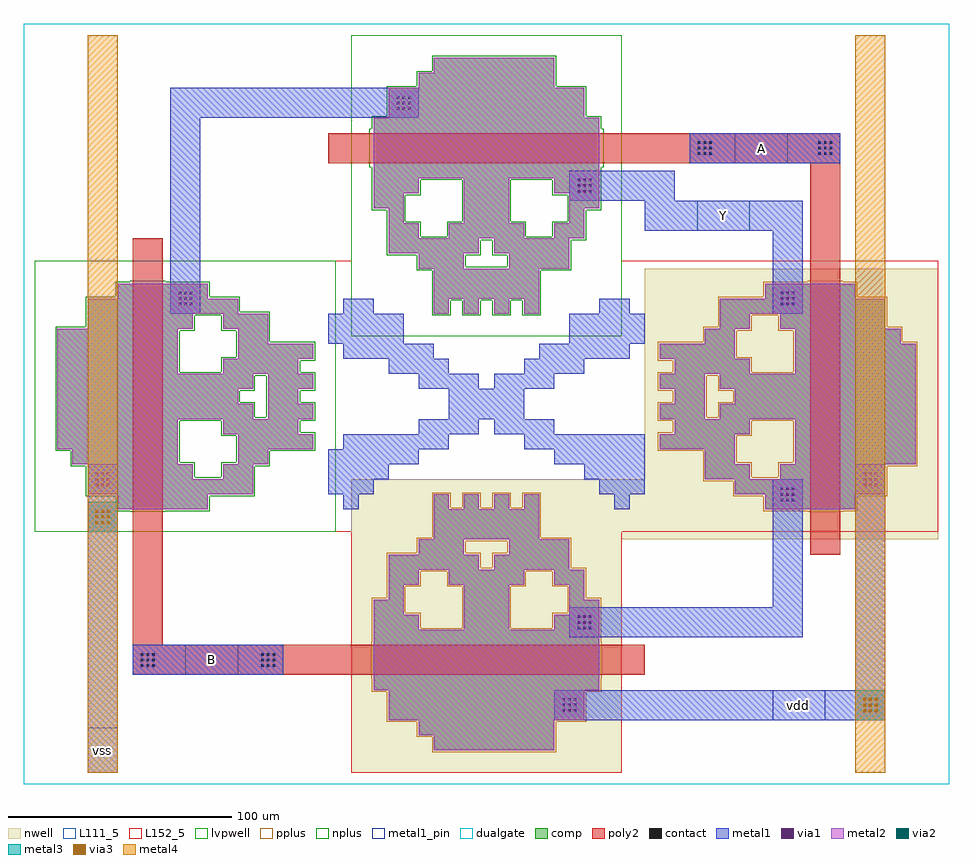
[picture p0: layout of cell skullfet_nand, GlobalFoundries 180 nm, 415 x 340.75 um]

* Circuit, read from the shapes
.subckt skullfet_nand A B Y vdd vss
XM1 n1 B vss VSUBS nfet_06v0 w=101.25u l=13.5u
XM2 n1 A Y VSUBS nfet_06v0 w=101.25u l=13.5u
XM3 Y B vdd n2 pfet_06v0 w=101.25u l=13.5u
XM4 vdd A Y n2 pfet_06v0 w=101.25u l=13.5u
.ends

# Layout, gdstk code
import gdstk
lib = gdstk.Library(unit=1e-6, precision=5e-09)
def R(c, l, rs):  # rectangles x0, y0, x1, y1
    for r in rs: c.add(gdstk.rectangle(r[:2], r[2:], *l))
def A(c, l, x, y, w, h, nx, ny, dx, dy):  # array of equal rectangles
    R(c, l, [(x+i*dx, y+j*dy, x+i*dx+w, y+j*dy+h) for i in range(nx) for j in range(ny)])
nwell = (21, 0)
comp = (22, 0)
poly2 = (30, 0)
pplus = (31, 0)
nplus = (32, 0)
contact = (33, 0)
metal1 = (34, 0)
metal1_pin = (34, 10)
via1 = (35, 0)
metal2 = (36, 0)
via2 = (38, 0)
via3 = (40, 0)
metal3 = (42, 0)
metal4 = (46, 0)
dualgate = (55, 0)
L111_5 = (111, 5)
L152_5 = (152, 5)
lvpwell = (204, 0)

skullfet_nand = lib.new_cell('skullfet_nand')
R(skullfet_nand, nwell, [(141.75,27,263.25,131.625), (141.75,131.625,405,158.625), (273.375,158.625,405,253.125)])
A(skullfet_nand, comp, 178.875, 145.125, 6.75, 6.75, 4, 2, 13.5, 87.75)
R(skullfet_nand, comp, [(178.875,37.125,232.875,43.875), (172.125,43.875,232.875,50.625), (158.625,50.625,246.375,64.125), (151.875,64.125,253.125,91.125), (151.875,91.125,172.125,97.875), (192.375,91.125,212.625,111.375), (232.875,91.125,253.125,97.875), (151.875,97.875,165.375,104.625), (239.625,97.875,253.125,104.625), (158.625,104.625,165.375,111.375), (239.625,104.625,246.375,111.375), (158.625,111.375,172.125,118.125), (185.625,111.375,219.375,118.125), (232.875,111.375,246.375,118.125), (158.625,118.125,199.125,124.875), (205.875,118.125,239.625,124.875), (172.125,124.875,192.375,131.625), (212.625,124.875,239.625,131.625), (178.875,131.625,226.125,145.125), (37.125,145.125,77.625,151.875), (327.375,145.125,367.875,151.875), (23.625,151.875,97.875,158.625), (313.875,151.875,381.375,158.625), (23.625,158.625,70.875,165.375), (84.375,158.625,97.875,165.375), (300.375,158.625,320.625,165.375), (334.125,158.625,381.375,165.375), (16.875,165.375,64.125,172.125), (91.125,165.375,104.625,172.125), (300.375,165.375,313.875,172.125), (340.875,165.375,394.875,185.625), (10.125,172.125,64.125,185.625), (91.125,172.125,124.875,178.875), (280.125,172.125,313.875,178.875), (84.375,178.875,118.125,185.625), (286.875,178.875,320.625,185.625), (10.125,185.625,97.875,192.375), (104.625,185.625,124.875,192.375), (280.125,185.625,300.375,192.375), (307.125,185.625,394.875,192.375), (10.125,192.375,91.125,199.125), (104.625,192.375,118.125,199.125), (286.875,192.375,300.375,199.125), (313.875,192.375,394.875,199.125), (10.125,199.125,97.875,205.875), (104.625,199.125,124.875,205.875), (280.125,199.125,300.375,205.875), (307.125,199.125,394.875,205.875), (10.125,205.875,64.125,226.125), (84.375,205.875,118.125,212.625), (286.875,205.875,320.625,212.625), (340.875,205.875,394.875,219.375), (91.125,212.625,124.875,219.375), (280.125,212.625,313.875,219.375), (91.125,219.375,104.625,226.125), (300.375,219.375,313.875,226.125), (340.875,219.375,388.125,226.125), (23.625,226.125,70.875,232.875), (84.375,226.125,104.625,232.875), (307.125,226.125,320.625,232.875), (334.125,226.125,381.375,232.875), (23.625,232.875,91.125,239.625), (307.125,232.875,381.375,239.625), (37.125,239.625,77.625,246.375), (178.875,239.625,226.125,253.125), (327.375,239.625,367.875,246.375), (172.125,253.125,192.375,259.875), (212.625,253.125,239.625,259.875), (158.625,259.875,199.125,266.625), (205.875,259.875,239.625,266.625), (158.625,266.625,172.125,273.375), (185.625,266.625,219.375,273.375), (232.875,266.625,246.375,273.375), (158.625,273.375,165.375,280.125), (192.375,273.375,212.625,293.625), (239.625,273.375,246.375,280.125), (151.875,280.125,165.375,286.875), (239.625,280.125,253.125,286.875), (151.875,286.875,172.125,293.625), (232.875,286.875,253.125,293.625), (151.875,293.625,253.125,320.625), (158.625,320.625,246.375,334.125), (172.125,334.125,232.875,340.875), (178.875,340.875,232.875,347.625)])
R(skullfet_nand, poly2, [(43.875,70.875,273.375,84.375), (43.875,84.375,57.375,266.625), (347.625,124.875,361.125,300.375), (131.625,300.375,361.125,313.875)])
A(skullfet_nand, pplus, 178.075, 145.925, 8.35, 6.75, 4, 1, 13.5, 0)
R(skullfet_nand, pplus, [(178.075,36.325,233.675,43.075), (171.325,43.075,233.675,49.825), (157.825,49.825,247.175,63.325), (151.075,63.325,253.925,69.725), (150.725,69.725,254.275,85.525), (151.075,85.525,253.925,91.925), (151.075,91.925,172.925,98.675), (191.575,91.925,213.425,110.575), (232.075,91.925,253.925,98.675), (151.075,98.675,166.175,105.425), (238.825,98.675,253.925,105.425), (157.825,105.425,166.175,110.575), (238.825,105.425,247.175,110.575), (157.825,110.575,172.925,117.325), (184.825,110.575,220.175,117.325), (232.075,110.575,247.175,117.325), (157.825,117.325,247.175,118.925), (157.825,118.925,199.925,125.675), (205.075,118.925,240.425,125.675), (171.325,125.675,193.175,130.825), (211.825,125.675,240.425,130.825), (171.325,130.825,240.425,132.425), (178.075,132.425,226.925,145.925), (346.475,143.975,362.275,144.325), (326.575,144.325,368.675,151.075), (313.075,151.075,382.175,157.825), (299.575,157.825,382.175,159.425), (299.575,159.425,321.425,166.175), (333.325,159.425,382.175,164.575), (333.325,164.575,395.675,166.175), (299.575,166.175,314.675,171.325), (340.075,166.175,395.675,184.825), (279.325,171.325,314.675,178.075), (279.325,178.075,321.425,179.675), (286.075,179.675,321.425,184.825), (279.325,184.825,395.675,186.425), (279.325,186.425,301.175,193.175), (306.325,186.425,395.675,193.175), (286.075,193.175,301.175,198.325), (313.075,193.175,395.675,198.325), (279.325,198.325,301.175,205.075), (306.325,198.325,395.675,205.075), (279.325,205.075,395.675,206.675), (286.075,206.675,321.425,211.825), (340.075,206.675,395.675,220.175), (279.325,211.825,321.425,213.425), (279.325,213.425,314.675,220.175), (299.575,220.175,314.675,225.325), (340.075,220.175,388.925,225.325), (299.575,225.325,321.425,226.925), (333.325,225.325,388.925,226.925), (306.325,226.925,321.425,232.075), (333.325,226.925,382.175,232.075), (306.325,232.075,382.175,240.425), (326.575,240.425,368.675,247.175), (346.475,247.175,362.275,247.525)])
A(skullfet_nand, nplus, 178.075, 232.075, 8.35, 8.15, 4, 1, 13.5, 0)
R(skullfet_nand, nplus, [(42.725,143.975,58.525,145.025), (36.325,144.325,78.425,152.475), (22.825,151.075,98.675,159.425), (22.825,151.075,98.675,159.425), (22.825,151.075,98.675,159.425), (22.825,151.075,98.675,159.425), (22.825,158.025,71.675,165.975), (83.575,158.025,98.675,165.975), (16.075,164.575,71.675,166.175), (16.075,164.575,71.675,166.175), (83.575,164.575,105.425,166.175), (83.575,164.575,105.425,166.175), (16.075,164.775,64.925,172.725), (90.325,164.775,105.425,172.725), (9.325,171.325,64.925,186.225), (9.325,171.325,64.925,186.225), (90.325,171.325,125.675,179.475), (90.325,171.325,125.675,179.475), (83.575,178.075,125.675,179.675), (83.575,178.075,125.675,179.675), (83.575,178.275,118.925,186.225), (9.325,184.825,125.675,186.425), (9.325,184.825,125.675,186.425), (9.325,184.825,125.675,186.425), (9.325,184.825,125.675,186.425), (9.325,185.025,98.675,193.175), (9.325,185.025,98.675,193.175), (103.825,185.025,125.675,193.175), (103.825,185.025,125.675,193.175), (9.325,191.775,91.925,199.725), (103.825,191.775,118.925,199.725), (9.325,198.325,98.675,206.475), (9.325,198.325,98.675,206.475), (103.825,198.325,125.675,206.475), (103.825,198.325,125.675,206.475), (9.325,205.075,125.675,206.675), (9.325,205.075,125.675,206.675), (9.325,205.075,125.675,206.675), (9.325,205.075,125.675,206.675), (9.325,205.275,64.925,226.725), (83.575,205.275,118.925,213.225), (83.575,211.825,125.675,213.425), (83.575,211.825,125.675,213.425), (90.325,212.025,125.675,220.175), (90.325,212.025,125.675,220.175), (90.325,218.775,105.425,226.725), (9.325,225.325,71.675,226.925), (9.325,225.325,71.675,226.925), (83.575,225.325,105.425,233.475), (83.575,225.325,105.425,233.475), (22.825,225.525,71.675,233.475), (22.825,232.075,105.425,233.675), (22.825,232.075,105.425,233.675), (22.825,232.075,105.425,233.675), (22.825,232.275,91.925,240.425), (22.825,232.275,91.925,240.425), (178.075,238.825,226.925,253.725), (178.075,238.825,226.925,253.725), (178.075,238.825,226.925,253.725), (178.075,238.825,226.925,253.725), (178.075,238.825,226.925,253.725), (36.325,239.025,78.425,247.175), (42.725,246.475,58.525,247.525), (171.325,252.325,240.425,253.925), (171.325,252.325,240.425,253.925), (171.325,252.325,240.425,253.925), (171.325,252.525,193.175,260.475), (211.825,252.525,240.425,260.475), (157.825,259.075,199.925,267.225), (157.825,259.075,199.925,267.225), (205.075,259.075,240.425,267.225), (205.075,259.075,240.425,267.225), (157.825,265.825,247.175,267.425), (157.825,265.825,247.175,267.425), (157.825,265.825,247.175,267.425), (157.825,265.825,247.175,267.425), (157.825,265.825,247.175,267.425), (157.825,266.025,172.925,274.175), (157.825,266.025,172.925,274.175), (184.825,266.025,220.175,274.175), (184.825,266.025,220.175,274.175), (232.075,266.025,247.175,274.175), (232.075,266.025,247.175,274.175), (157.825,272.775,166.175,280.725), (191.575,272.775,213.425,294.225), (238.825,272.775,247.175,280.725), (151.075,279.325,166.175,287.475), (151.075,279.325,166.175,287.475), (238.825,279.325,253.925,287.475), (238.825,279.325,253.925,287.475), (151.075,286.075,172.925,294.225), (151.075,286.075,172.925,294.225), (232.075,286.075,253.925,294.225), (232.075,286.075,253.925,294.225), (151.075,292.825,253.925,299.925), (151.075,292.825,253.925,299.925), (151.075,292.825,253.925,299.925), (151.075,292.825,253.925,299.925), (150.025,298.525,254.975,315.725), (151.075,314.325,253.925,321.425), (151.075,314.325,253.925,321.425), (157.825,320.025,247.175,334.925), (157.825,320.025,247.175,334.925), (171.325,333.525,233.675,341.675), (171.325,333.525,233.675,341.675), (178.075,340.275,233.675,348.425)])
A(skullfet_nand, contact, 236.575, 54.325, 1.1, 1.1, 3, 3, 2.5, 2.5)
A(skullfet_nand, contact, 47.575, 74.575, 1.1, 1.1, 3, 3, 2.5, 2.5)
A(skullfet_nand, contact, 101.575, 74.575, 1.1, 1.1, 3, 3, 2.5, 2.5)
A(skullfet_nand, contact, 243.325, 91.45, 1.1, 1.1, 3, 3, 2.5, 2.5)
A(skullfet_nand, contact, 334.45, 148.825, 1.1, 1.1, 3, 3, 2.5, 2.5)
A(skullfet_nand, contact, 27.325, 155.575, 1.1, 1.1, 3, 3, 2.5, 2.5)
A(skullfet_nand, contact, 371.575, 155.575, 1.1, 1.1, 3, 3, 2.5, 2.5)
A(skullfet_nand, contact, 64.45, 236.575, 1.1, 1.1, 3, 3, 2.5, 2.5)
A(skullfet_nand, contact, 334.45, 236.575, 1.1, 1.1, 3, 3, 2.5, 2.5)
A(skullfet_nand, contact, 243.325, 287.2, 1.1, 1.1, 3, 3, 2.5, 2.5)
A(skullfet_nand, contact, 297.325, 304.075, 1.1, 1.1, 3, 3, 2.5, 2.5)
A(skullfet_nand, contact, 351.325, 304.075, 1.1, 1.1, 3, 3, 2.5, 2.5)
A(skullfet_nand, contact, 162.325, 324.325, 1.1, 1.1, 3, 3, 2.5, 2.5)
R(skullfet_nand, metal1, [(23.625,27,37.125,165.375), (232.875,50.625,381.375,64.125), (367.875,64.125,381.375,165.375), (43.875,70.875,111.375,84.375), (239.625,87.75,344.25,101.25), (330.75,101.25,344.25,158.625), (138.375,145.125,145.125,151.875), (259.875,145.125,266.625,151.875), (131.625,151.875,151.875,158.625), (253.125,151.875,273.375,158.625), (131.625,158.625,158.625,165.375), (246.375,158.625,273.375,165.375), (131.625,165.375,172.125,172.125), (232.875,165.375,273.375,172.125), (138.375,172.125,185.625,178.875), (219.375,172.125,273.375,178.875), (172.125,178.875,199.125,185.625), (205.875,178.875,232.875,185.625), (185.625,185.625,219.375,199.125), (172.125,199.125,199.125,205.875), (205.875,199.125,232.875,205.875), (158.625,205.875,185.625,212.625), (219.375,205.875,246.375,212.625), (138.375,212.625,178.875,219.375), (226.125,212.625,266.625,219.375), (131.625,219.375,165.375,232.875), (239.625,219.375,273.375,232.875), (60.75,232.875,74.25,320.625), (138.375,232.875,151.875,239.625), (253.125,232.875,266.625,239.625), (330.75,232.875,344.25,270), (273.375,270,344.25,283.5), (239.625,283.5,286.875,297), (293.625,300.375,361.125,313.875), (60.75,320.625,172.125,334.125)])
R(skullfet_nand, metal1_pin, [(23.625,27,37.125,47.25), (330.75,50.625,354.375,64.125), (67.5,70.875,91.125,84.375), (297,270,320.625,283.5), (313.875,300.375,337.5,313.875)])
A(skullfet_nand, via1, 371.375, 54.125, 1.3, 1.3, 3, 3, 2.6, 2.6)
A(skullfet_nand, via1, 27.125, 138.5, 1.3, 1.3, 3, 3, 2.6, 2.6)
A(skullfet_nand, metal2, 178.875, 145.125, 6.75, 6.75, 4, 2, 13.5, 87.75)
R(skullfet_nand, metal2, [(178.875,37.125,232.875,43.875), (172.125,43.875,232.875,50.625), (158.625,50.625,246.375,64.125), (367.875,50.625,381.375,64.125), (151.875,64.125,253.125,91.125), (151.875,91.125,172.125,97.875), (192.375,91.125,212.625,111.375), (232.875,91.125,253.125,97.875), (151.875,97.875,165.375,104.625), (239.625,97.875,253.125,104.625), (158.625,104.625,165.375,111.375), (239.625,104.625,246.375,111.375), (158.625,111.375,172.125,118.125), (185.625,111.375,219.375,118.125), (232.875,111.375,246.375,118.125), (158.625,118.125,199.125,124.875), (205.875,118.125,239.625,124.875), (172.125,124.875,192.375,131.625), (212.625,124.875,239.625,131.625), (178.875,131.625,226.125,145.125), (23.625,135,37.125,145.125), (23.625,145.125,77.625,148.5), (327.375,145.125,367.875,151.875), (37.125,148.5,77.625,151.875), (23.625,151.875,97.875,158.625), (313.875,151.875,381.375,158.625), (23.625,158.625,70.875,165.375), (84.375,158.625,97.875,165.375), (300.375,158.625,320.625,165.375), (334.125,158.625,381.375,165.375), (16.875,165.375,64.125,172.125), (91.125,165.375,104.625,172.125), (300.375,165.375,313.875,172.125), (340.875,165.375,394.875,185.625), (10.125,172.125,64.125,185.625), (91.125,172.125,124.875,178.875), (280.125,172.125,313.875,178.875), (84.375,178.875,118.125,185.625), (286.875,178.875,320.625,185.625), (10.125,185.625,97.875,192.375), (104.625,185.625,124.875,192.375), (280.125,185.625,300.375,192.375), (307.125,185.625,394.875,192.375), (10.125,192.375,91.125,199.125), (104.625,192.375,118.125,199.125), (286.875,192.375,300.375,199.125), (313.875,192.375,394.875,199.125), (10.125,199.125,97.875,205.875), (104.625,199.125,124.875,205.875), (280.125,199.125,300.375,205.875), (307.125,199.125,394.875,205.875), (10.125,205.875,64.125,226.125), (84.375,205.875,118.125,212.625), (286.875,205.875,320.625,212.625), (340.875,205.875,394.875,219.375), (91.125,212.625,124.875,219.375), (280.125,212.625,313.875,219.375), (91.125,219.375,104.625,226.125), (300.375,219.375,313.875,226.125), (340.875,219.375,388.125,226.125), (23.625,226.125,70.875,232.875), (84.375,226.125,104.625,232.875), (307.125,226.125,320.625,232.875), (334.125,226.125,381.375,232.875), (23.625,232.875,91.125,239.625), (307.125,232.875,381.375,239.625), (37.125,239.625,77.625,246.375), (178.875,239.625,226.125,253.125), (327.375,239.625,367.875,246.375), (172.125,253.125,192.375,259.875), (212.625,253.125,239.625,259.875), (158.625,259.875,199.125,266.625), (205.875,259.875,239.625,266.625), (158.625,266.625,172.125,273.375), (185.625,266.625,219.375,273.375), (232.875,266.625,246.375,273.375), (158.625,273.375,165.375,280.125), (192.375,273.375,212.625,293.625), (239.625,273.375,246.375,280.125), (151.875,280.125,165.375,286.875), (239.625,280.125,253.125,286.875), (151.875,286.875,172.125,293.625), (232.875,286.875,253.125,293.625), (151.875,293.625,253.125,320.625), (158.625,320.625,246.375,334.125), (172.125,334.125,232.875,340.875), (178.875,340.875,232.875,347.625)])
A(skullfet_nand, via2, 371.375, 54.125, 1.3, 1.3, 3, 3, 2.6, 2.6)
A(skullfet_nand, via2, 27.125, 138.5, 1.3, 1.3, 3, 3, 2.6, 2.6)
A(skullfet_nand, via3, 371.375, 54.125, 1.3, 1.3, 3, 3, 2.6, 2.6)
A(skullfet_nand, via3, 27.125, 138.5, 1.3, 1.3, 3, 3, 2.6, 2.6)
R(skullfet_nand, metal3, [(367.875,50.625,381.375,64.125), (23.625,135,37.125,148.5)])
R(skullfet_nand, metal4, [(23.625,27,37.125,357.75), (367.875,27,381.375,357.75)])
A(skullfet_nand, dualgate, 177.675, 146.325, 9.15, 6.75, 4, 2, 13.5, 85.35)
R(skullfet_nand, dualgate, [(-5,22,410,362.75), (177.675,35.925,234.075,42.675), (170.925,42.675,234.075,49.425), (157.425,49.425,247.575,62.925), (150.675,62.925,254.325,68.875), (149.875,68.875,255.125,86.375), (150.675,86.375,254.325,92.325), (150.675,92.325,173.325,99.075), (191.175,92.325,213.825,110.175), (231.675,92.325,254.325,99.075), (150.675,99.075,166.575,105.825), (238.425,99.075,254.325,105.825), (157.425,105.825,166.575,110.175), (238.425,105.825,247.575,110.175), (157.425,110.175,173.325,116.925), (184.425,110.175,220.575,116.925), (231.675,110.175,247.575,116.925), (157.425,116.925,247.575,119.325), (157.425,119.325,200.325,126.075), (204.675,119.325,240.825,126.075), (170.925,126.075,193.575,130.425), (211.425,126.075,240.825,130.425), (170.925,130.425,240.825,132.825), (177.675,132.825,227.325,146.325), (41.875,143.125,59.375,143.925), (345.625,143.125,363.125,143.925), (35.925,143.925,78.825,150.675), (326.175,143.925,369.075,150.675), (22.425,150.675,99.075,159.825), (312.675,150.675,382.575,157.425), (299.175,157.425,382.575,159.825), (22.425,159.825,72.075,164.175), (83.175,159.825,99.075,164.175), (299.175,159.825,321.825,166.575), (332.925,159.825,382.575,164.175), (15.675,164.175,72.075,166.575), (83.175,164.175,105.825,166.575), (332.925,164.175,396.075,166.575), (15.675,166.575,65.325,170.925), (89.925,166.575,105.825,170.925), (299.175,166.575,315.075,170.925), (339.675,166.575,396.075,184.425), (8.925,170.925,65.325,184.425), (89.925,170.925,126.075,177.675), (278.925,170.925,315.075,177.675), (83.175,177.675,126.075,180.075), (278.925,177.675,321.825,180.075), (83.175,180.075,119.325,184.425), (285.675,180.075,321.825,184.425), (8.925,184.425,126.075,186.825), (278.925,184.425,396.075,186.825), (8.925,186.825,99.075,193.575), (103.425,186.825,126.075,193.575), (278.925,186.825,301.575,193.575), (305.925,186.825,396.075,193.575), (8.925,193.575,92.325,197.925), (103.425,193.575,119.325,197.925), (285.675,193.575,301.575,197.925), (312.675,193.575,396.075,197.925), (8.925,197.925,99.075,204.675), (103.425,197.925,126.075,204.675), (278.925,197.925,301.575,204.675), (305.925,197.925,396.075,204.675), (8.925,204.675,126.075,207.075), (278.925,204.675,396.075,207.075), (8.925,207.075,65.325,224.925), (83.175,207.075,119.325,211.425), (285.675,207.075,321.825,211.425), (339.675,207.075,396.075,220.575), (83.175,211.425,126.075,213.825), (278.925,211.425,321.825,213.825), (89.925,213.825,126.075,220.575), (278.925,213.825,315.075,220.575), (89.925,220.575,105.825,224.925), (299.175,220.575,315.075,224.925), (339.675,220.575,389.325,224.925), (8.925,224.925,72.075,227.325), (83.175,224.925,105.825,231.675), (299.175,224.925,321.825,227.325), (332.925,224.925,389.325,227.325), (22.425,227.325,72.075,231.675), (305.925,227.325,321.825,231.675), (332.925,227.325,382.575,231.675), (22.425,231.675,105.825,234.075), (305.925,231.675,382.575,240.825), (22.425,234.075,92.325,240.825), (177.675,238.425,227.325,251.925), (35.925,240.825,78.825,247.575), (326.175,240.825,369.075,247.575), (41.875,247.575,59.375,248.375), (345.625,247.575,363.125,248.375), (170.925,251.925,240.825,254.325), (170.925,254.325,193.575,258.675), (211.425,254.325,240.825,258.675), (157.425,258.675,200.325,265.425), (204.675,258.675,240.825,265.425), (157.425,265.425,247.575,267.825), (157.425,267.825,173.325,274.575), (184.425,267.825,220.575,274.575), (231.675,267.825,247.575,274.575), (157.425,274.575,166.575,278.925), (191.175,274.575,213.825,292.425), (238.425,274.575,247.575,278.925), (150.675,278.925,166.575,285.675), (238.425,278.925,254.325,285.675), (150.675,285.675,173.325,292.425), (231.675,285.675,254.325,292.425), (150.675,292.425,254.325,298.375), (149.875,298.375,255.125,315.875), (150.675,315.875,254.325,321.825), (157.425,321.825,247.575,335.325), (170.925,335.325,234.075,342.075), (177.675,342.075,234.075,348.825)])
R(skullfet_nand, L111_5, [(141.75,27,263.25,135), (0,135,405,256.5), (141.75,256.5,263.25,357.75)])
R(skullfet_nand, L152_5, [(141.75,27,263.25,135), (0,135,405,256.5), (141.75,256.5,263.25,357.75)])
R(skullfet_nand, lvpwell, [(0,135,135,256.5), (141.75,222.75,263.25,357.75)])
skullfet_nand.add(gdstk.Label('A', (325.685,307.125), layer=34, texttype=10))
skullfet_nand.add(gdstk.Label('B', (79.31,77.625), layer=34, texttype=10))
skullfet_nand.add(gdstk.Label('Y', (308.81,276.75), layer=34, texttype=10))
skullfet_nand.add(gdstk.Label('vdd', (342.56,57.375), layer=34, texttype=10))
skullfet_nand.add(gdstk.Label('vss', (30.375,37.125), layer=34, texttype=10))

lib.write_gds('skullfet_nand.gds')
